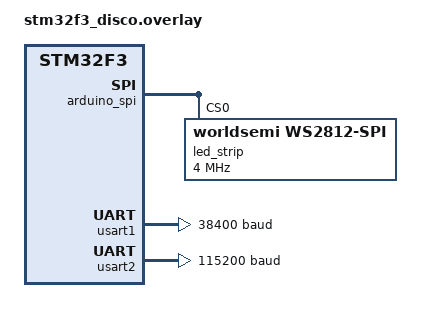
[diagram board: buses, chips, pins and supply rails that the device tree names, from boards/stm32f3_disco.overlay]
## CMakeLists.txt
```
cmake_minimum_required(VERSION 3.20.0)

find_package(Zephyr REQUIRED HINTS $ENV{ZEPHYR_BASE})
project(smallLEDDisplay)

FILE(GLOB app_sources src/*.c)
target_sources(app PRIVATE ${app_sources})
```

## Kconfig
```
config SPI 
        default y

source "Kconfig.zephyr"
```

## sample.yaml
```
sample:
  description: WS2812 LED Display Matrix
  name: small LED Display Matrix 
tests:
  smallLEDDisplay:
    tags: LED 
    filter: dt_compat_enabled("worldsemi,ws2812-spi")
    harness_config:
      fixture: fixture_led_ws2812
```

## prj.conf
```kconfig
CONFIG_LOG=y
CONFIG_LED_STRIP=y
CONFIG_LED_STRIP_LOG_LEVEL_DBG=y
CONFIG_WS2812_STRIP=y
CONFIG_NEWLIB_LIBC=y
CONFIG_TEST_RANDOM_GENERATOR=y
CONFIG_SERIAL=y
CONFIG_UART_INTERRUPT_DRIVEN=y
```

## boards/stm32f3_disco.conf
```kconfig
CONFIG_WS2812_STRIP_SPI=y
CONFIG_SPI=y
#CONFIG_UART=y
```

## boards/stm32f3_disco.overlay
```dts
/*
 * Copyright (c) 2021, STMicroelectronics
 *
 * SPDX-License-Identifier: Apache-2.0
 */

#include <zephyr/dt-bindings/led/led.h>

&arduino_spi {
        led_strip: ws2812@0 {
                compatible = "worldsemi,ws2812-spi";

                /* SPI */
                reg = <0>; /* ignored, but necessary for SPI bindings */
                spi-max-frequency = <4000000>;
                frame-format = <32768>; /* SPI_FRAME_FORMAT_TI */

                /* WS2812 */
                chain-length = <256>; /* arbitrary; change at will */
                spi-one-frame = <0x70>;
                spi-zero-frame = <0x40>;
                color-mapping = <LED_COLOR_ID_GREEN
                                 LED_COLOR_ID_RED
                                 LED_COLOR_ID_BLUE>;
        };  
};

&usart1 {
	current-speed = <38400>;
};

&usart2 {
	current-speed = <115200>;
};

/ {
        aliases {
                led-strip = &led_strip;
                bt-module = &usart1;
                pc-console = &usart2;
        };  
};
```

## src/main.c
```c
#include <errno.h>
#include <string.h>
#include <math.h>
#include "colors.h"
#define LOG_LEVEL 4
#include <zephyr/logging/log.h>
LOG_MODULE_REGISTER(main);

#include <zephyr/kernel.h>
#include <zephyr/drivers/led_strip.h>
#include <zephyr/device.h>
#include <zephyr/drivers/spi.h>
#include <zephyr/drivers/uart.h>
#include <zephyr/sys/util.h>
#include <zephyr/random/rand32.h>

#define STRIP_NODE              DT_ALIAS(led_strip)
#define STRIP_NUM_PIXELS        DT_PROP(DT_ALIAS(led_strip), chain_length)

#define BT_UART_DEVICE_NODE 		DT_ALIAS(bt_module)
#define PC_UART_CONSOLE_NODE		DT_ALIAS(pc_console)

#define DELAY_TIME K_MSEC(30)

//#define RGB(_r, _g, _b) { .r = (_r), .g = (_g), .b = (_b) }
/*
static const struct led_rgb colors[] = {
        RGB(0x0f, 0x00, 0x00), 
        RGB(0x00, 0x0f, 0x00), 
        RGB(0x00, 0x00, 0x0f), 
};
*/
static const struct led_rgb black = RGB(0x00, 0x00, 0x00);

struct led_rgb pixels[STRIP_NUM_PIXELS];

static const struct device *const strip = DEVICE_DT_GET(STRIP_NODE);
static const struct device *const bt_uart_dev = DEVICE_DT_GET(BT_UART_DEVICE_NODE);
static const struct device *const pc_uart_dev = DEVICE_DT_GET(PC_UART_CONSOLE_NODE);

unsigned int letter, position;

#define MSG_SIZE 32
/* queue to store up to 10 messages (aligned to 4-byte boundary) */
K_MSGQ_DEFINE(uart_msgq, MSG_SIZE, 10, 4);

/* receive buffer used in UART ISR callback */
static char rx_buf[MSG_SIZE];
static int rx_buf_pos;

int scroll_text_length;
int current_char;

#define MAXLETTER 70
#define NRFONTCHR 43
#define SCREENDELAY 100
#define INITIALSPEED 30
#define COLUMNS 32 
#define ROWS 8

// boolean
bool speedupSW, slowdownSW, stopScrolling;
bool scroll_to_left = true;
char scrollText[MAXLETTER];

#define CHRWIDTH 8
#define SCREENWIDTH 32
#define SCREENHEIGHT 8

static int charColor;
const char font_chars[NRFONTCHR]={'0','1','2','3','4','5','6','7','8','9',
	                         '`','~','.',' ','-',':','/',
                                 'a','b','c','d','e','f','g','h','i','j','k','l','m',
                                 'n','o','p','q','r','s','t','u','v','w','x','y','z'};

//const int charsMatrix[NRLETTERS][CHRWIDTH]={
const int font_bitmap8[NRFONTCHR][8]={
{0x3C, 0x66, 0x66, 0x66, 0x66, 0x66, 0x66, 0x3C}, // 0
{0x18, 0x38, 0x78, 0x18, 0x18, 0x18, 0x18, 0x7E}, // 1
{0x3C, 0x66, 0x46, 0x06, 0x0C, 0x18, 0x30, 0x7E}, // 2
{0x7E, 0x06, 0x0C, 0x18, 0x0C, 0x06, 0x06, 0x7C}, // 3
{0x06, 0x0E, 0x16, 0x26, 0x7E, 0x06, 0x06, 0x06}, // 4
{0x7E, 0x60, 0x60, 0x7C, 0x06, 0x06, 0x66, 0x3C}, // 5
{0x3C, 0x66, 0x60, 0x60, 0x7C, 0x66, 0x66, 0x3C}, // 6
{0x7E, 0x06, 0x06, 0x0C, 0x18, 0x18, 0x18, 0x18}, // 7
{0x3C, 0x66, 0x66, 0x3C, 0x66, 0x66, 0x66, 0x3C}, // 8
{0x3C, 0x66, 0x66, 0x3E, 0x06, 0x06, 0x66, 0x3C}, // 9
{0x00, 0x24, 0x5A, 0x99, 0x81, 0x42, 0x24, 0x18}, // `heart
{0x3C, 0x42, 0xA5, 0x81, 0xA5, 0x99, 0x42, 0x3C}, // ~smile
{0x00, 0x00, 0x00, 0x00, 0x00, 0x18, 0x18, 0x00}, // .
{0x00, 0x00, 0x00, 0x00, 0x00, 0x00, 0x00, 0x00}, // space
{0x00, 0x00, 0x00, 0x7E, 0x7E, 0x00, 0x00, 0x00}, // -
{0x00, 0x18, 0x18, 0x00, 0x00, 0x18, 0x18, 0x00}, // :
{0x01, 0x03, 0x06, 0x0C, 0x18, 0x30, 0x60, 0xC0}, // /
{0x00, 0x00, 0x0E, 0x01, 0x0F, 0x11, 0x0F, 0x00}, // a
{0x10, 0x10, 0x16, 0x19, 0x11, 0x11, 0x1E, 0x00}, // b
{0x00, 0x00, 0x0E, 0x10, 0x10, 0x11, 0x0E, 0x00}, // c
{0x01, 0x01, 0x0D, 0x13, 0x11, 0x11, 0x0F, 0x00}, // d
{0x00, 0x00, 0x0E, 0x11, 0x1E, 0x10, 0x0E, 0x00}, // e
{0x06, 0x09, 0x08, 0x1C, 0x08, 0x08, 0x08, 0x00}, // f
{0x00, 0x0f, 0x11, 0x11, 0x0F, 0x01, 0x0E, 0x00}, // g
{0x10, 0x10, 0x16, 0x19, 0x11, 0x11, 0x11, 0x00}, // h
{0x04, 0x00, 0x0C, 0x04, 0x04, 0x04, 0x0E, 0x00}, // i
{0x02, 0x00, 0x06, 0x02, 0x02, 0x12, 0x0C, 0x00}, // j
{0x10, 0x10, 0x12, 0x14, 0x18, 0x14, 0x12, 0x00}, // k
{0x0C, 0x04, 0x04, 0x04, 0x04, 0x04, 0x0E, 0x00}, // l
{0x00, 0x00, 0x1A, 0x15, 0x15, 0x11, 0x11, 0x00}, // m
{0x00, 0x00, 0x16, 0x19, 0x11, 0x11, 0x11, 0x00}, // n
{0x00, 0x00, 0x0E, 0x11, 0x11, 0x11, 0x0E, 0x00}, // o
{0x00, 0x00, 0x1E, 0x11, 0x1E, 0x10, 0x10, 0x00}, // p
{0x00, 0x00, 0x0D, 0x13, 0x0F, 0x01, 0x01, 0x00}, // q
{0x00, 0x00, 0x16, 0x19, 0x10, 0x10, 0x10, 0x00}, // r
{0x00, 0x00, 0x0E, 0x10, 0x0E, 0x01, 0x1E, 0x00}, // s
{0x08, 0x08, 0x1C, 0x08, 0x08, 0x09, 0x06, 0x00}, // t
{0x00, 0x00, 0x11, 0x11, 0x11, 0x13, 0x0D, 0x00}, // u
{0x00, 0x00, 0x11, 0x11, 0x11, 0x0A, 0x04, 0x00}, // v
{0x00, 0x00, 0x11, 0x11, 0x15, 0x15, 0x0A, 0x00}, // w
{0x00, 0x00, 0x11, 0x0A, 0x04, 0x0A, 0x11, 0x00}, // x
{0x00, 0x00, 0x11, 0x11, 0x0F, 0x01, 0x0E, 0x00}, // y
{0x00, 0x00, 0x1F, 0x02, 0x04, 0x08, 0x1F, 0x00}  // z
};
void set_pixel(int x, int y, const struct led_rgb color)
{
    int cursor;
    if ((x % 2) == 0)
      cursor = ((SCREENWIDTH - x)*SCREENHEIGHT) - 1 - ((SCREENHEIGHT-1) - y);
    else
      cursor = ((SCREENWIDTH - x)*SCREENHEIGHT) - 1 - y;
    memcpy(&pixels[cursor], &color, sizeof(struct led_rgb));
}

struct led_rgb get_pixel(int x, int y)
{
    int cursor;
    if ((x % 2) == 0)
      cursor = ((SCREENWIDTH - x)*SCREENHEIGHT) - 1 - ((SCREENHEIGHT-1) - y);
    else
      cursor = ((SCREENWIDTH - x)*SCREENHEIGHT) - 1 - y;
    return pixels[cursor];
}

void clearScreen()
{
    for (int x = 0; x < COLUMNS - 1; x++) 
        for (int y = 0; y < ROWS; y++) 
	   set_pixel(x, y, black);
}

void scrollMatrix(bool scroll_to_left)
{
    if (scroll_to_left)
//      clearScreen();
      for (int x = 0; x < COLUMNS - 1; x++) 
        for (int y = 0; y < ROWS; y++) {
	  set_pixel(x, y, get_pixel(x+1, y));
//          memcpy(&pixels[cursor_to], &pixels[cursor_from], sizeof(struct led_rgb));
        }
}

void addNewRow(bool scroll_to_left)
{ 
    //int colorText = sys_rand32_get() % 87;
    if (scroll_to_left) {
      for ( int i = 0; i < CHRWIDTH; i++ ) {
        if (font_bitmap8[current_char][i] & (1 << ( CHRWIDTH - position - 1))) 
	  set_pixel(SCREENWIDTH-1, i, colors[charColor]);
	else
	  set_pixel(SCREENWIDTH-1, i, black); 
      }
    }
}

void main(void)
{
        int rc;
	bool stopScrolling = false; 

     	//strcpy(scrollText,"0123456789/:-. `~abcdefghijklmnopqrstuvwxyz");
     	strcpy(scrollText,"open tech school / embedded projects / www.protektwar.net / ");
	scroll_text_length = strlen(scrollText);
	position = 0;
	letter = 0;
        for (int i = 0; i < NRFONTCHR; i++)
           if (scrollText[letter] == font_chars[i])
              current_char = i;

        if (device_is_ready(strip)) {
                LOG_INF("Found LED strip device %s", strip->name);
        } else {
                LOG_ERR("LED strip device %s is not ready", strip->name);
                return;
        }

        if (!device_is_ready(bt_uart_dev)) {
                printk("BT UART device is not ready!");
                LOG_INF("BT UART device is not ready!");
                return;
        }
	else {
                printk("Found BT UART device!");
                LOG_INF("Found BT UART device!");
	}
	
        if (!device_is_ready(bt_uart_dev)) {
                printk("PC UART device is not ready!");
                LOG_INF("PC UART device is not ready!");
                return;
        } 
	else {
                printk("Found PC UART device!");
                LOG_INF("Found PC UART device!");
	}

        /* configure interrupt and callback to receive data */
/*        int ret = uart_irq_callback_user_data_set(pc_uart_dev, serial_cb, NULL);

        if (ret < 0) {
                if (ret == -ENOTSUP) {
                        printk("Interrupt-driven UART API support not enabled\n");
                } else if (ret == -ENOSYS) {
                        printk("UART device does not support interrupt-driven API\n");
                } else {
                        printk("Error setting UART callback: %d\n", ret);
                }   
                return;
        }   
        uart_irq_rx_enable(uart_dev);


        print_uart("Hello! I'm your echo bot.\r\n");
        print_uart("Tell me something and press enter:\r\n");
*/	

        while (1) {
              /*if (speedUP) {
	          speedUP = false;
		  stopScrolling = false;
		  speed = speed - 1;
		  if (speed < 1) 
		    speed = 1;
		}
                if (slowDOWN) {
		  slowDOWN = false;
		  speed = speed + 1;
		  if (speed > MAXSPEED) {
		    stopScrolling = true;
		    speed = MAXSPEED;
		  }
		} */
		if (!stopScrolling) {
                  position++;
		  if (!(position % 8)) {
                    charColor = sys_rand32_get() % 87;
                    position = 0;
		    letter++;
		    if (letter == scroll_text_length)
		      letter = 0;
		    current_char = 0;
		    for (int i = 0; i < NRFONTCHR; i++)
		      if (scrollText[letter] == font_chars[i])
		        current_char = i;
		  }
		  scrollMatrix(scroll_to_left);
		  addNewRow(scroll_to_left);
		}

                rc = led_strip_update_rgb(strip, pixels, STRIP_NUM_PIXELS);

                if (rc) {
                        LOG_ERR("couldn't update strip: %d", rc);
                }

                k_sleep(DELAY_TIME);
        }
}
```

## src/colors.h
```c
#include <zephyr/drivers/led_strip.h>
#ifndef _COLORS
#define RGB(_r, _g, _b) { .r = (_r), .g = (_g), .b = (_b) }
static const struct led_rgb colors[] = {
RGB(128,0,0),
RGB(139,0,0),
RGB(165,42,42),
RGB(178,34,34),
RGB(220,20,60),
RGB(255,0,0),
RGB(255,99,71),
RGB(255,127,80),
RGB(205,92,92),
RGB(240,128,128),
RGB(233,150,122),
RGB(250,128,114),
RGB(255,160,122),
RGB(255,69,0),
RGB(255,140,0),
RGB(255,165,0),
RGB(255,215,0),
RGB(184,134,11),
RGB(218,165,32),
RGB(238,232,170),
RGB(189,183,107),
RGB(240,230,140),
RGB(128,128,0),
RGB(255,255,0),
RGB(154,205,50),
RGB(85,107,47),
RGB(107,142,35),
RGB(124,252,0),
RGB(127,255,0),
RGB(0,100,0),
RGB(0,128,0),
RGB(34,139,34),
RGB(0,255,0),
RGB(50,205,50),
RGB(144,238,144),
RGB(152,251,152),
RGB(143,188,143),
RGB(0,250,154),
RGB(0,255,127),
RGB(46,139,87),
RGB(102,205,170),
RGB(60,179,113),
RGB(32,178,170),
RGB(47,79,79),
RGB(0,128,128),
RGB(0,139,139),
RGB(0,255,255),
RGB(0,206,209),
RGB(64,224,208),
RGB(72,209,204),
RGB(127,255,212),
RGB(95,158,160),
RGB(70,130,180),
RGB(100,149,237),
RGB(0,191,255),
RGB(30,144,255),
RGB(173,216,230),
RGB(135,206,235),
RGB(135,206,250),
RGB(25,25,112),
RGB(0,0,128),
RGB(0,0,139),
RGB(0,0,205),
RGB(0,0,255),
RGB(65,105,225),
RGB(138,43,226),
RGB(75,0,130),
RGB(72,61,139),
RGB(106,90,205),
RGB(123,104,238),
RGB(147,112,219),
RGB(139,0,139),
RGB(148,0,211),
RGB(153,50,204),
RGB(186,85,211),
RGB(128,0,128),
RGB(216,191,216),
RGB(221,160,221),
RGB(238,130,238),
RGB(255,0,255),
RGB(218,112,214),
RGB(199,21,133),
RGB(219,112,147),
RGB(255,20,147),
RGB(255,105,180),
RGB(255,182,193),
RGB(255,192,203)//,
}; 
#endif
```
